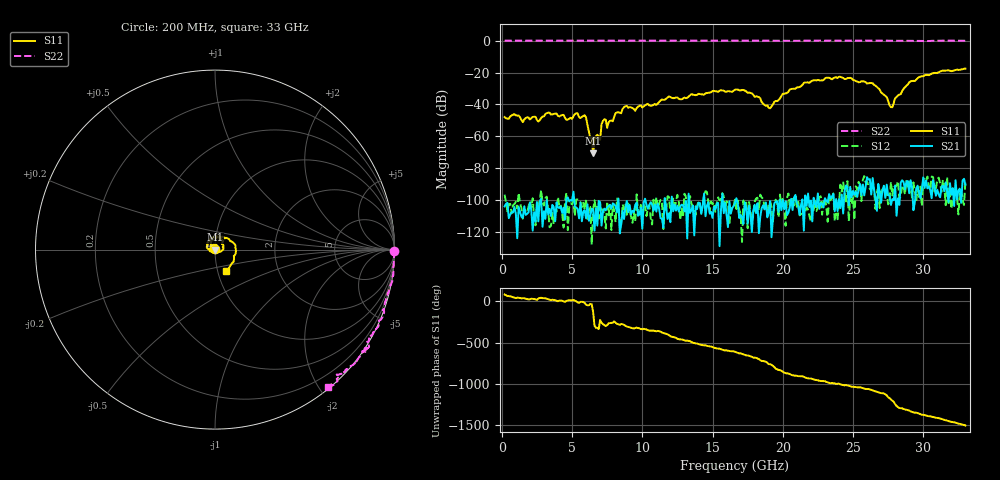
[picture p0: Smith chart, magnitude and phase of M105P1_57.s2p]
# GHZ S RI R 50
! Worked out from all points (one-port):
!   329 points, 200 MHz to 33 GHz, reference 50 ohm
!   lowest |S11| = -70.6 dB at 6.5 GHz (marker M1), VSWR 1.00, Z = 50 - j0.0232 ohm
!   |S11| at or under -10 dB: start of sweep to end of sweep
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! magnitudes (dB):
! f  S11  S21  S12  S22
! 200 MHz  -47.9  -103.9  -96.5  0.0
! 5.7 GHz  -47.7  -113.2  -104.4  0.0
! 6 GHz  -48.3  -111.4  -99.3  0.0
! 6.3 GHz  -61.2  -109.8  -104.3  0.0
! 6.4 GHz  -61.0  -105.3  -127.9  0.0
! 6.5 GHz  -70.6  -105.9  -106.1  0.0
! 6.6 GHz  -61.8  -119.0  -100.1  0.0
! 7 GHz  -62.2  -101.2  -102.5  0.0
! 7.1 GHz  -52.3  -115.9  -106.0  0.0
! 7.3 GHz  -49.3  -105.3  -108.7  0.0
! 7.5 GHz  -54.7  -104.5  -100.8  0.0
! 8.8 GHz  -41.0  -104.6  -102.7  0.0
! 9.5 GHz  -43.9  -102.9  -113.2  0.0
! 11.2 GHz  -38.4  -105.3  -102.0  -0.1
! 16.6 GHz  -30.7  -101.8  -99.7  0.0
! 19.1 GHz  -42.4  -100.6  -100.7  -0.1
! 20 GHz  -33.3  -99.8  -99.1  -0.1
! 22.1 GHz  -25.1  -113.3  -106.3  0.0
! 26.4 GHz  -26.7  -86.1  -92.2  0.0
! 27.6 GHz  -40.6  -97.1  -100.6  -0.1
! 29.8 GHz  -22.5  -98.9  -91.5  -0.2
! 33 GHz  -17.5  -90.3  -88.3  -0.1
